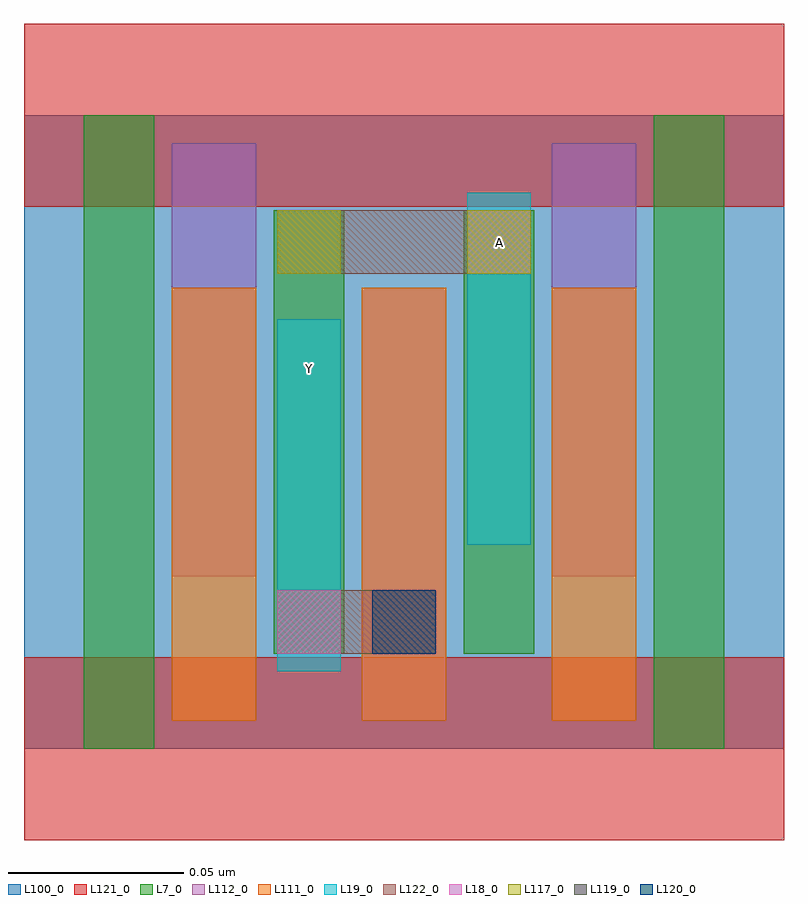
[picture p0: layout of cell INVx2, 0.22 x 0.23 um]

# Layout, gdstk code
import gdstk
lib = gdstk.Library(unit=1e-6, precision=2.5e-10)
def R(c, l, rs):  # rectangles x0, y0, x1, y1
    for r in rs: c.add(gdstk.rectangle(r[:2], r[2:], *l))
def A(c, l, x, y, w, h, nx, ny, dx, dy):  # array of equal rectangles
    R(c, l, [(x+i*dx, y+j*dy, x+i*dx+w, y+j*dy+h) for i in range(nx) for j in range(ny)])
L7_0 = (7, 0)
L18_0 = (18, 0)
L19_0 = (19, 0)
L100_0 = (100, 0)
L111_0 = (111, 0)
L112_0 = (112, 0)
L117_0 = (117, 0)
L119_0 = (119, 0)
L120_0 = (120, 0)
L121_0 = (121, 0)
L122_0 = (122, 0)

invx2 = lib.new_cell('INVx2')
R(invx2, L7_0, [(0.017,0,0.037,0.18), (0.179,0,0.199,0.18), (0.071,0.027,0.091,0.153), (0.125,0.027,0.145,0.153)])
R(invx2, L18_0, [(0.072,0.027,0.09,0.045), (0.126,0.135,0.144,0.153)])
R(invx2, L19_0, [(0.072,0.022,0.09,0.122), (0.126,0.058,0.144,0.158)])
R(invx2, L100_0, [(0,0,0.216,0.18)])
A(invx2, L111_0, 0.042, 0.008, 0.024, 0.123, 3, 1, 0.054, 0)
R(invx2, L112_0, [(0.096,0.008,0.12,0.131), (0.042,0.049,0.066,0.172), (0.15,0.049,0.174,0.172)])
R(invx2, L117_0, [(0.072,0.135,0.09,0.153), (0.126,0.135,0.144,0.153)])
R(invx2, L119_0, [(0.099,0.027,0.117,0.045)])
R(invx2, L120_0, [(0.099,0.027,0.117,0.045)])
R(invx2, L121_0, [(0,-0.026,0.216,0.026), (0,0.154,0.216,0.206)])
R(invx2, L122_0, [(0.072,0.027,0.117,0.045), (0.072,0.135,0.144,0.153)])
invx2.add(gdstk.Label('Y', (0.081,0.108), layer=19, texttype=251))
invx2.add(gdstk.Label('A', (0.135,0.144), layer=19, texttype=251))

lib.write_gds('INVx2.gds')
